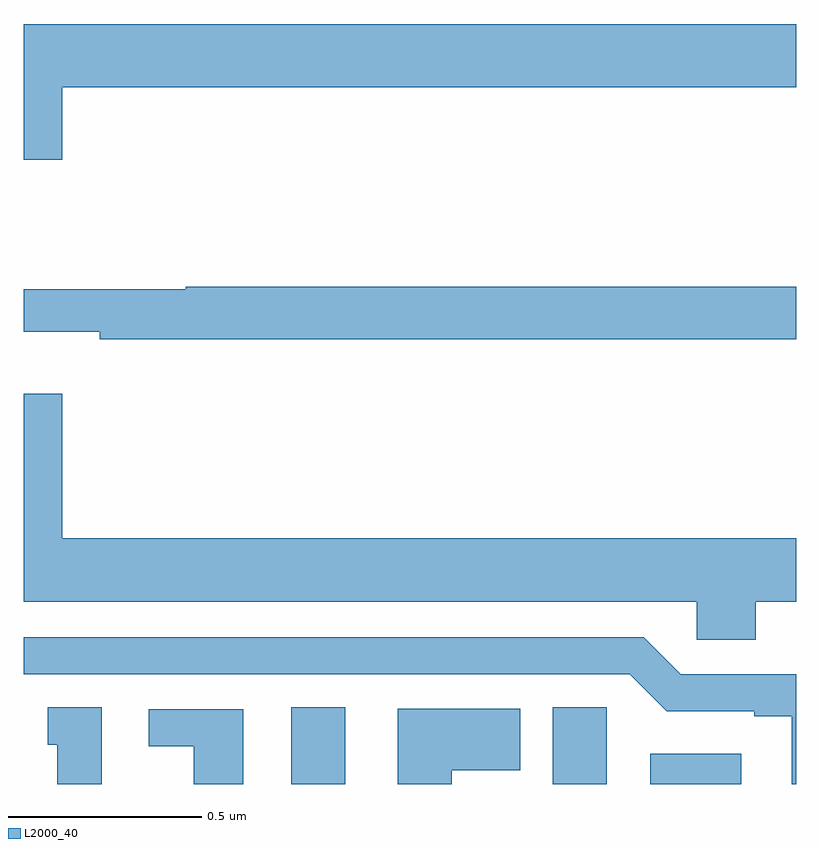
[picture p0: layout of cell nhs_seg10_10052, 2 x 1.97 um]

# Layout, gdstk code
import gdstk
lib = gdstk.Library(unit=1e-6, precision=1e-09)
def R(c, l, rs):  # rectangles x0, y0, x1, y1
    for r in rs: c.add(gdstk.rectangle(r[:2], r[2:], *l))
def P(c, l, *ps):  # polygons
    for p in ps: c.add(gdstk.Polygon(p, *l))
L2000_40 = (2000, 40)

nhs_seg10_10052 = lib.new_cell('nhs_seg10_10052')
R(nhs_seg10_10052, L2000_40, [(237.692,1310.5,237.832,1310.699), (238.622,1310.5,238.858,1310.578)])
P(nhs_seg10_10052, L2000_40, [(237.1,1312.304),(239,1312.304),(239,1312.468),(237,1312.468),(237,1312.116),(237.1,1312.116)],
  [(239,1311.788),(237.419,1311.788),(237.419,1311.781),(237,1311.781),(237,1311.671),(237.196,1311.671),(237.196,1311.652),(239,1311.652)],
  [(238.895,1310.972),(239,1310.972),(239,1311.136),(237.1,1311.136),(237.1,1311.511),(237,1311.511),(237,1310.972),(238.743,1310.972),(238.743,1310.874),(238.895,1310.874)],
  [(239,1310.784),(238.701,1310.784),(238.605,1310.88),(237,1310.88),(237,1310.784),(238.569,1310.784),(238.665,1310.688),(238.892,1310.688),(238.892,1310.676),(238.988,1310.676),(238.988,1310.5),(239,1310.5)],
  [(238.51,1310.588),(238.509,1310.588),(238.509,1310.699),(238.37,1310.699),(238.37,1310.5),(238.51,1310.5)],
  [(237.202,1310.699),(237.062,1310.699),(237.062,1310.601),(237.086,1310.601),(237.086,1310.5),(237.202,1310.5)],
  [(238.108,1310.536),(238.285,1310.536),(238.285,1310.695),(237.968,1310.695),(237.968,1310.5),(238.108,1310.5)],
  [(237.568,1310.694),(237.324,1310.694),(237.324,1310.598),(237.44,1310.598),(237.44,1310.5),(237.568,1310.5)])

lib.write_gds('nhs_seg10_10052.gds')
